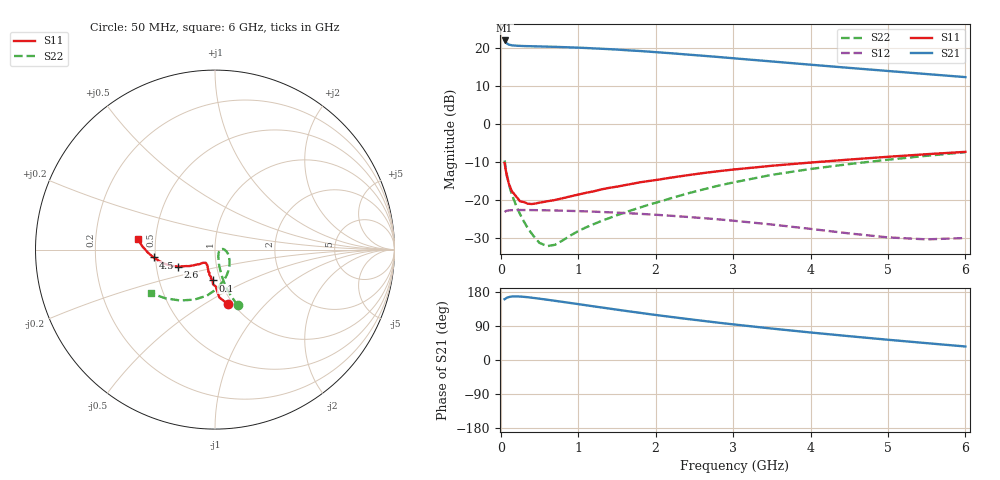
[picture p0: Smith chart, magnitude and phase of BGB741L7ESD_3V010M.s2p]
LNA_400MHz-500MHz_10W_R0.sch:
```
<Qucs Schematic 0.0.19>
<Properties>
  <View=-61,-27,2648,2117,0.913508,53,1080>
  <Grid=10,10,1>
  <DataSet=LNA_400MHz-500MHz_10W_R0.dat>
  <DataDisplay=LNA_400MHz-500MHz_10W_R0.sch>
  <OpenDisplay=1>
  <Script=LNA_400MHz-500MHz_10W_R0.m>
  <RunScript=0>
  <showFrame=0>
  <FrameText0=Title>
  <FrameText1=Drawn By:>
  <FrameText2=Date:>
  <FrameText3=Revision:>
</Properties>
<Symbol>
</Symbol>
<Components>
  <.SP SP1 1 10 10 0 82 0 0 "lin" 1 "500 MHz" 1 "1.5 GHz" 1 "3" 1 "yes" 0 "1" 0 "2" 0 "no" 0 "no" 0>
  <GND * 5 270 450 0 0 0 0>
  <R R1 1 410 380 -26 -53 0 2 "0 Ohm" 1 "26.85" 0 "0.0" 0 "0.0" 0 "26.85" 0 "european" 0>
  <GND * 5 480 520 0 0 0 0>
  <Pac P2 1 480 450 20 -28 0 1 "2" 1 "50 Ohm" 1 "0 dBm" 0 "1 GHz" 0 "26.85" 0>
  <R R2 1 130 380 -26 -53 0 2 "0 Ohm" 1 "26.85" 0 "0.0" 0 "0.0" 0 "26.85" 0 "european" 0>
  <GND * 5 60 520 0 0 0 0>
  <Pac P1 1 60 450 -81 -29 1 1 "1" 1 "50" 1 "0 dBm" 0 "1 GHz" 0 "26.85" 0>
  <Eqn Eqn6 1 240 10 -31 19 0 0 "S11_mag=(S[1,1]*conj(S[1,1]))^(1/2)" 1 "S11_ang=180/pi*angle(S[1,1])" 1 "S21_mag=(S[2,1]*conj(S[2,1]))^(1/2)" 1 "S21_ang=180/pi*angle(S[2,1])" 1 "S12_mag=(S[1,2]*conj(S[1,2]))^(1/2)" 1 "S12_ang=180/pi*angle(S[1,2])" 1 "S22_mag=(S[2,2]*conj(S[2,2]))^(1/2)" 1 "S22_ang=180/pi*angle(S[2,2])" 1 "yes" 0>
  <Eqn Eqn1 1 600 10 -31 19 0 0 "S11_dB=dB(S[1,1])" 1 "S21_dB=dB(S[2,1])" 1 "S12_dB=dB(S[1,2])" 1 "S22_dB=dB(S[2,2])" 1 "yes" 0>
  <Eqn Eqn3 1 670 330 -31 19 0 0 "K=StabFactor(S)" 1 "delta=S[1,1]*S[2,2]-S[1,2]*S[2,1]" 1 "delta_mag=((S[1,1]*S[2,2]-S[1,2]*S[2,1])*conj(S[1,1]*S[2,2]-S[1,2]*S[2,1]))^(1/2)" 1 "U=(S12_mag*S21_mag*S11_mag*S22_mag)/((1-S11_mag^2)*(1-S22_mag^2))" 1 "GTU_min_dB=10*log10((1+U)^(-2))" 1 "GTU_max_dB=10*log10((1-U)^(-2))" 1 "SS=StabCircleS(S)" 1 "SL=StabCircleL(S)" 1 "yes" 0>
  <Eqn Eqn4 1 2340 10 -31 19 0 0 "Ga8=GaCircle(S,10^(8/10))" 1 "Ga9=GaCircle(S,10^(9/10))" 1 "Ga10=GaCircle(S,10^(10/10))" 1 "Ga11p38=GaCircle(S,10^(11.38/10))" 1 "yes" 0>
  <Eqn Eqn7 1 50 790 -31 19 0 0 "Z0=50" 1 "B1=1 + S11_mag^2 - S22_mag^2 - delta_mag^2" 1 "B2=1 + S22_mag^2 - S11_mag^2 - delta_mag^2" 1 "C1=S[1,1]-delta*conj(S[2,2])" 1 "C2=S[2,2]-delta*conj(S[1,1])" 1 "gamma_Ms=(B1-(B1^2-4*C1*conj(C1))^(1/2))/(2*C1)" 1 "gamma_ML=(B2-(B2^2-4*C2*conj(C2))^(1/2))/(2*C2)" 1 "GT_max=S21_mag/S12_mag*(K-(K^2-1)^(1/2))" 1 "GT_max_dB=10*log10(GT_max)" 1 "gamma_Ms_real=mag(gamma_Ms)*cos(ceil(arg(gamma_Ms)*180/pi)*pi/180)" 1 "gamma_Ms_imag=mag(gamma_Ms)*sin(floor(arg(gamma_Ms)*180/pi)*pi/180)" 1 "gamma_ML_real=mag(gamma_ML)*cos(ceil(arg(gamma_ML)*180/pi)*pi/180)" 1 "gamma_ML_imag=mag(gamma_ML)*sin(floor(arg(gamma_ML)*180/pi)*pi/180)" 1 "yes" 0>
  <L L5 0 680 1420 -26 -48 0 2 "0.487 nH" 1 "" 0>
  <GND * 4 610 1560 0 0 0 0>
  <Eqn Eqn12 1 50 1230 -31 19 0 0 "Zin_Re=mag(Z0 * (1 - gamma_Ms_real^2 - gamma_Ms_imag^2) / ((1 - gamma_Ms_real)^2 + gamma_Ms_imag^2))" 1 "Zin_Im=mag(Z0*2*gamma_Ms_imag / ((1 - gamma_Ms_real)^2 + gamma_Ms_imag^2))" 1 "Cp_in=1/(2*pi*frequency) * sqrt((Z0 * Zin_Re)^(-1) - (Z0)^(-2))" 1 "Ls_in=abs((2*pi*frequency)^(-1) * ( Zin_Im + (2*pi*frequency*Cp_in) / ((Z0)^(-2) + (2*pi*frequency*Cp_in)^2)))" 1 "yes" 0>
  <L L6 0 640 1820 -26 -48 0 2 "1.57 nH" 1 "" 0>
  <GND * 4 710 1960 0 0 0 0>
  <Eqn Eqn13 1 50 1650 -31 19 0 0 "Zout_Re=mag(Z0 * (1 - gamma_ML_real^2 - gamma_ML_imag^2) / ((1 - gamma_ML_real)^2 + gamma_ML_imag^2))" 1 "Zout_Im=mag(Z0*2*gamma_ML_imag / ((1 - gamma_ML_real)^2 + gamma_ML_imag^2))" 1 "Ls_out=abs((2*pi*frequency)^(-1) * ( Zout_Im + (2*pi*frequency*Cp_out) / ((Z0)^(-2) + (2*pi*frequency*Cp_out)^2)))" 1 "Cp_out=1/(2*pi*frequency) * sqrt((Z0 * Zout_Re)^(-1) - (Z0)^(-2))" 1 "yes" 0>
  <Eqn Eqn9 1 1350 790 -31 19 0 0 "Gp_9_dB=GpCircle(S,10^(9/10))" 1 "Gp_11p4_dB=GpCircle(S,10^(11.4/10))" 1 "gamma_L_real=0.243" 1 "gamma_L_imag=0.266" 1 "gamma_L=gamma_L_real+i*gamma_L_imag" 1 "gamma_s=conj(S[1,1] + (S[1,2]*S[2,1]*gamma_L) / (1-S[2,2]*gamma_L))" 1 "gamma_s_real=mag(gamma_s)*cos(ceil(arg(gamma_s)*180/pi)*pi/180)" 1 "gamma_s_imag=mag(gamma_s)*sin(floor(arg(gamma_s)*180/pi)*pi/180)" 1 "yes" 0>
  <Eqn Eqn10 1 1350 1170 -31 19 0 0 "Zin_Gp_Re=mag(Z0 * (1 - gamma_s_real^2 - gamma_s_imag^2) / ((1 - gamma_s_real)^2 + gamma_s_imag^2))" 1 "Zin_Gp_Im=mag(Z0*2*gamma_s_imag / ((1 - gamma_s_real)^2 + gamma_s_imag^2))" 1 "Cp_Gp_in=1/(2*pi*frequency) * sqrt((Z0 * Zin_Gp_Re)^(-1) - (Z0)^(-2))" 1 "Ls_Gp_in=abs((2*pi*frequency)^(-1) * ( Zin_Gp_Im + (2*pi*frequency*Cp_Gp_in) / ((Z0)^(-2) + (2*pi*frequency*Cp_Gp_in)^2)))" 1 "yes" 0>
  <Eqn Eqn11 1 1350 1570 -31 19 0 0 "Zout_Gp_Re=mag(Z0 * (1 - gamma_L_real^2 - gamma_L_imag^2) / ((1 - gamma_L_real)^2 + gamma_L_imag^2))" 1 "Zout_Gp_Im=mag(Z0*2*gamma_L_imag / ((1 - gamma_L_real)^2 + gamma_L_imag^2))" 1 "Ls_Gp_out=1/(2*pi*frequency) * sqrt( ( Z0/Zout_Gp_Re ) * ( Zout_Gp_Re^2 + Zout_Gp_Im^2 ) - Z0^2)" 1 "Cp_Gp_out=1/(2*pi*frequency) * ( (2*pi*frequency*Ls_Gp_out)/(Z0^2+(2*pi*frequency*Ls_Gp_out)^2) + Zout_Gp_Im/(Zout_Gp_Re^2+Zout_Gp_Im^2) )" 1 "yes" 0>
  <L L2 0 1990 1760 -26 -48 0 2 "1.23 nH" 1 "" 0>
  <GND * 5 1920 1900 0 0 0 0>
  <L L4 0 1990 1340 -26 -48 0 2 "0.611 nH" 1 "" 0>
  <C C4 0 1920 1410 17 -26 0 1 "0.978 pF" 1 "" 0 "neutral" 0>
  <GND * 5 1920 1480 0 0 0 0>
  <Eqn Eqn2 1 2290 460 -31 19 0 0 "Fmin_dB=w2dbm(Fmin/1000)" 1 "N=NoiseCircle(Sopt, Fmin, Rn, [Fmin])" 1 "yes" 0>
  <C C2 0 1920 1830 17 -26 0 1 "0.439pF" 1 "" 0 "neutral" 0>
  <C C5 0 610 1490 17 -26 0 1 "1.34 pF" 1 "" 0 "neutral" 0>
  <C C6 0 710 1890 17 -26 0 1 "0.902pF" 1 "" 0 "neutral" 0>
  <SPfile X7 1 270 380 -26 -40 0 0 "/home/daniel/Documents/HackRF Front End/Simulations/LNA/Infineon-BGB741L7ESD-SD-v01_00-EN/BGB741L7ESD_3V010M.s2p" 0 "rectangular" 0 "linear" 0 "open" 0 "2" 0>
</Components>
<Wires>
  <270 410 270 450 "" 0 0 0 "">
  <480 480 480 520 "" 0 0 0 "">
  <480 380 480 420 "" 0 0 0 "">
  <440 380 480 380 "" 0 0 0 "">
  <300 380 380 380 "Vd" 330 360 38 "">
  <160 380 240 380 "Vg" 190 360 37 "">
  <60 380 100 380 "" 0 0 0 "">
  <60 480 60 520 "" 0 0 0 "">
  <60 380 60 420 "" 0 0 0 "">
  <610 1520 610 1560 "" 0 0 0 "">
  <610 1420 610 1460 "" 0 0 0 "">
  <610 1420 650 1420 "" 0 0 0 "">
  <710 1420 750 1420 "" 0 0 0 "">
  <570 1420 610 1420 "" 0 0 0 "">
  <570 1820 610 1820 "" 0 0 0 "">
  <670 1820 710 1820 "" 0 0 0 "">
  <710 1920 710 1960 "" 0 0 0 "">
  <710 1820 710 1860 "" 0 0 0 "">
  <710 1820 750 1820 "" 0 0 0 "">
  <1920 1860 1920 1900 "" 0 0 0 "">
  <1920 1760 1960 1760 "" 0 0 0 "">
  <1920 1760 1920 1800 "" 0 0 0 "">
  <2020 1760 2080 1760 "" 0 0 0 "">
  <1920 1440 1920 1480 "" 0 0 0 "">
  <1920 1340 1920 1380 "" 0 0 0 "">
  <1920 1340 1960 1340 "" 0 0 0 "">
  <2020 1340 2060 1340 "" 0 0 0 "">
  <1880 1340 1920 1340 "" 0 0 0 "">
  <480 380 480 380 "VL" 490 360 0 "">
  <60 380 60 380 "Vs" 30 360 0 "">
  <750 1420 750 1420 "Vg" 760 1400 0 "">
  <570 1420 570 1420 "Vs" 540 1400 0 "">
  <570 1820 570 1820 "Vd" 540 1800 0 "">
  <750 1820 750 1820 "VL" 760 1800 0 "">
  <1920 1760 1920 1760 "Vd" 1890 1740 0 "">
  <2080 1760 2080 1760 "VL" 2090 1740 0 "">
  <2060 1340 2060 1340 "Vg" 2070 1320 0 "">
  <1880 1340 1880 1340 "Vs" 1850 1320 0 "">
</Wires>
<Diagrams>
  <Tab 210 296 810 86 3 #c0c0c0 1 00 1 0 1 1 1 0 1 1 1 0 1 3 315 0 225 "" "" "">
	<"S11_mag" #0000ff 0 3 0 0 0>
	<"S11_ang" #0000ff 0 3 0 0 0>
	<"S21_mag" #0000ff 0 3 0 0 0>
	<"S21_ang" #0000ff 0 3 0 0 0>
	<"S12_mag" #0000ff 0 3 0 0 0>
	<"S12_ang" #0000ff 0 3 0 0 0>
	<"S22_mag" #0000ff 0 3 0 0 0>
	<"S22_ang" #0000ff 0 3 0 0 0>
  </Tab>
  <Tab 640 680 616 89 3 #c0c0c0 1 00 1 0 1 1 1 0 1 1 1 0 1 192 315 0 225 "" "" "">
	<"K" #0000ff 0 3 0 0 0>
	<"delta_mag" #0000ff 0 3 0 0 0>
	<"U" #0000ff 0 3 0 0 0>
	<"GTU_min_dB" #0000ff 0 3 0 0 0>
	<"GTU_max_dB" #0000ff 0 3 0 0 0>
  </Tab>
  <Smith 1310 640 317 317 3 #c0c0c0 1 00 1 0 1 1 1 0 4 5 1 0 1 1 315 0 225 "" "" "">
	<"SS" #ff0000 0 3 0 0 0>
	<"SL" #0055ff 0 3 0 0 0>
  </Smith>
  <Smith 1100 254 254 254 3 #c0c0c0 1 00 1 0 1 1 1 0 4 62.9036 1 0 1 1 315 0 225 "" "" "">
	<"S[1,1]" #0000ff 0 3 0 0 0>
	  <Mkr 1.5e+09 241 -261 3 0 0>
	<"S[2,2]" #ff0000 0 3 0 0 0>
	  <Mkr 1.5e+09 243 -64 3 0 0>
  </Smith>
  <Rect 1670 260 375 260 3 #c0c0c0 1 00 0 5.95e+09 5e+07 6.05e+09 0 -50 10 20 1 -1 0.5 1 315 0 225 "" "" "">
	<"S11_dB" #0000ff 0 3 0 0 0>
	  <Mkr 1.5e+09 385 -145 3 0 0>
	<"S21_dB" #ff0000 0 3 0 0 0>
	  <Mkr 1.5e+09 385 -246 3 0 0>
	<"S12_dB" #ff00ff 0 3 0 0 0>
	  <Mkr 1.5e+09 385 -193 3 0 0>
	<"S22_dB" #00ff00 0 3 0 0 0>
	  <Mkr 1.5e+09 385 -99 3 0 0>
  </Rect>
  <Smith 2320 360 214 214 3 #c0c0c0 1 00 1 0 1 1 1 0 4 1.45328 1 0 1 1 315 0 225 "" "" "">
	<"Ga8" #0000ff 0 3 0 0 0>
	<"Ga9" #ff0000 0 3 0 0 0>
	<"Ga10" #ff00ff 0 3 0 0 0>
	<"Ga11p38" #00ff00 0 3 0 0 0>
  </Smith>
  <Tab 20 1456 450 83 3 #c0c0c0 1 00 1 0 1 1 1 0 1 1 1 0 1 3 315 0 225 "" "" "">
	<"Zin_Re" #0000ff 0 3 1 0 0>
	<"Zin_Im" #0000ff 0 3 1 0 0>
	<"Cp_in" #0000ff 0 3 0 0 0>
	<"Ls_in" #0000ff 0 3 0 0 0>
  </Tab>
  <Tab 20 1160 877 86 3 #c0c0c0 1 00 1 0 1 1 1 0 1 1 1 0 1 3 315 0 225 "" "" "">
	<"B1" #0000ff 0 3 0 0 0>
	<"B2" #0000ff 0 3 0 0 0>
	<"C1" #0000ff 0 3 1 0 0>
	<"C2" #0000ff 0 3 1 0 0>
	<"gamma_Ms" #0000ff 0 3 1 0 0>
	<"gamma_ML" #0000ff 0 3 1 0 0>
	<"GT_max" #0000ff 0 3 1 0 0>
	<"GT_max_dB" #0000ff 0 3 1 0 0>
  </Tab>
  <Tab 20 1858 450 85 3 #c0c0c0 1 00 1 0 1 1 1 0 1 1 1 0 1 3 315 0 225 "" "" "">
	<"Zout_Re" #0000ff 0 3 0 0 0>
	<"Zout_Im" #0000ff 0 3 0 0 0>
	<"Ls_out" #0000ff 0 3 0 0 0>
	<"Cp_out" #0000ff 0 3 0 0 0>
  </Tab>
  <Smith 2010 1060 320 320 3 #c0c0c0 1 00 1 0 1 1 1 0 4 1 1 0 1 1 315 0 225 "" "" "">
	<"Gp_9_dB" #0000ff 0 3 0 0 0>
	  <Mkr 325.714/1.5e+09 322 -320 3 0 0>
	<"Gp_11p4_dB" #ff0000 0 3 0 0 0>
  </Smith>
  <Tab 1320 1742 326 49 3 #c0c0c0 1 00 1 0 1 1 1 0 1 1 1 0 1 3 315 0 225 "" "" "">
	<"Zout_Gp_Re" #0000ff 0 3 0 0 0>
	<"Zout_Gp_Im" #0000ff 0 3 0 0 0>
  </Tab>
  <Tab 1320 1837 326 88 3 #c0c0c0 1 00 1 0 1 1 1 0 1 1 1 0 1 3 315 0 225 "" "" "">
	<"Ls_Gp_out" #0000ff 0 3 0 0 0>
	<"Cp_Gp_out" #0000ff 0 3 0 0 0>
  </Tab>
  <Tab 1320 1390 478 91 3 #c0c0c0 1 00 1 0 1 1 1 0 1 1 1 0 1 3 315 0 225 "" "" "">
	<"Zin_Gp_Re" #0000ff 0 3 0 0 0>
	<"Zin_Gp_Im" #0000ff 0 3 0 0 0>
	<"Cp_Gp_in" #0000ff 0 3 0 0 0>
	<"Ls_Gp_in" #0000ff 0 3 0 0 0>
  </Tab>
  <Tab 1320 1080 261 84 3 #c0c0c0 1 00 1 0 1 1 1 0 1 1 1 0 1 3 315 0 225 "" "" "">
	<"gamma_s" #0000ff 0 3 1 0 0>
  </Tab>
</Diagrams>
<Paintings>
  <Text 190 490 12 #000000 0 "Infineon BGB741L7ESD\n3.0V, 10mA\nS-Parameter Model">
  <Text 640 530 12 #ff0000 0 "Requirements for Unconditional Stability\nK > 1		3.3.19\n|Δ| <=1	3.3.20">
  <Text 10 1190 12 #0000ff 0 "Downconverts from Higher System Impedance Z0 to Lower Transistor Input Impedance Zin">
  <Text 10 740 12 #0000ff 0 "Maximum Gain Simultaineous Conjugate Match">
  <Text 10 1600 12 #0000ff 0 "Upconverts from Lower Characteristic Impedance Z0 to Higher Transistor Impedance Zout">
  <Text 1310 740 12 #0000ff 0 "Specified Power Gain and Load Point Simultaineous Conjugate Match">
  <Text 1310 1120 12 #0000ff 0 "Downconverts from Higher System Impedance Z0 to Lower Transistor Input Impedance Zin">
  <Text 1310 1520 12 #0000ff 0 "Upconverts from Lower Characteristic Impedance Z0 to Higher Transistor Impedance Zout">
</Paintings>
```
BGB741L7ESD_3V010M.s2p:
!  Infineon Technologies AG
!  BGB741L7ESD
!  Vce = 3.0V, Ic = 10.0mA
!  DATUM: 30.06.2009 10:00:07
# GHz  S  MA  R  50
!f  S11  S21  S12  S22
!GHz  Mag  Ang  Mag  Ang  Mag  Ang  Mag  Ang
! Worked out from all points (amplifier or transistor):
!   44 points, 50 MHz to 6 GHz, reference 50 ohm
!   highest |S21| = 22.1 dB at 50 MHz (marker M1)
!   |S21| within 3 dB of that: start of sweep to 1.951 GHz
!   unconditionally stable (mu >= 1): 201.5 MHz to end of sweep
!   at 120 MHz: K = 0.97, MSG = 21.8 dB, |S12| = -22.6 dB
!   at 1 GHz: K = 1.03, MAG = 20.4 dB, |S12| = -22.8 dB
!   at 6 GHz: K = 2.36, MAG = 14.6 dB, |S12| = -29.9 dB
!   lowest NFmin = 0.98 dB at 450 MHz
!   S11 on the Smith chart (normalised r, x): 50 MHz: 0.94, -0.63; 100 MHz: 0.92, -0.33; 2.6 GHz: 0.65, -0.13; 4.5 GHz: 0.49, -0.05; 6 GHz: 0.39, +0.06
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0.05  0.3113 -76.9  12.73 160.5  0.07041 20.0  0.3356 -67.8
0.1  0.1722 -94.5  11.28 165.7  0.07382 9.6  0.174 -74.9
0.15  0.1304 -106.0  10.97 167.7  0.07459 5.7  0.1152 -75.7
0.3  0.09531 -119.2  10.74 166.6  0.07486 1.0  0.05266 -68.9
0.8  0.1072 -134.3  10.4 153.3  0.07342 -5.3  0.02981 -2.5
1.5  0.152 -144.4  9.657 132.8  0.06918 -11.1  0.06401 -8.4
2  0.1855 -150.3  8.93 118.9  0.06491 -14.4  0.09314 -31.5
2.6  0.2285 -155.5  8.022 103.6  0.05872 -17.1  0.1386 -57.3
3.5  0.2862 -163.6  6.737 83.0  0.0483 -18.1  0.2173 -86.7
4.5  0.3452 -172.7  5.546 62.8  0.03688 -11.3  0.3012 -112.3
6  0.436 171.9  4.193 35.7  0.03208 22.0  0.4315 -145.7
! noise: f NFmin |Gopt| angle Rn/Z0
0.45  0.98  0.04  152  0.13
0.9  1  0.06  126  0.13
1.8  1.04  0.08  120  0.22
2.4  1.07  0.1  119  0.29
3  1.12  0.12  135  0.2
5.5  1.75  0.17  172  0.16

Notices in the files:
Simulations/LNA/Infineon-BGB741L7ESD-SD-v01_00-EN/BGB741L7ESD_3V010M.s2p:
(c) 2009  Infineon Technologies AG, Munich
